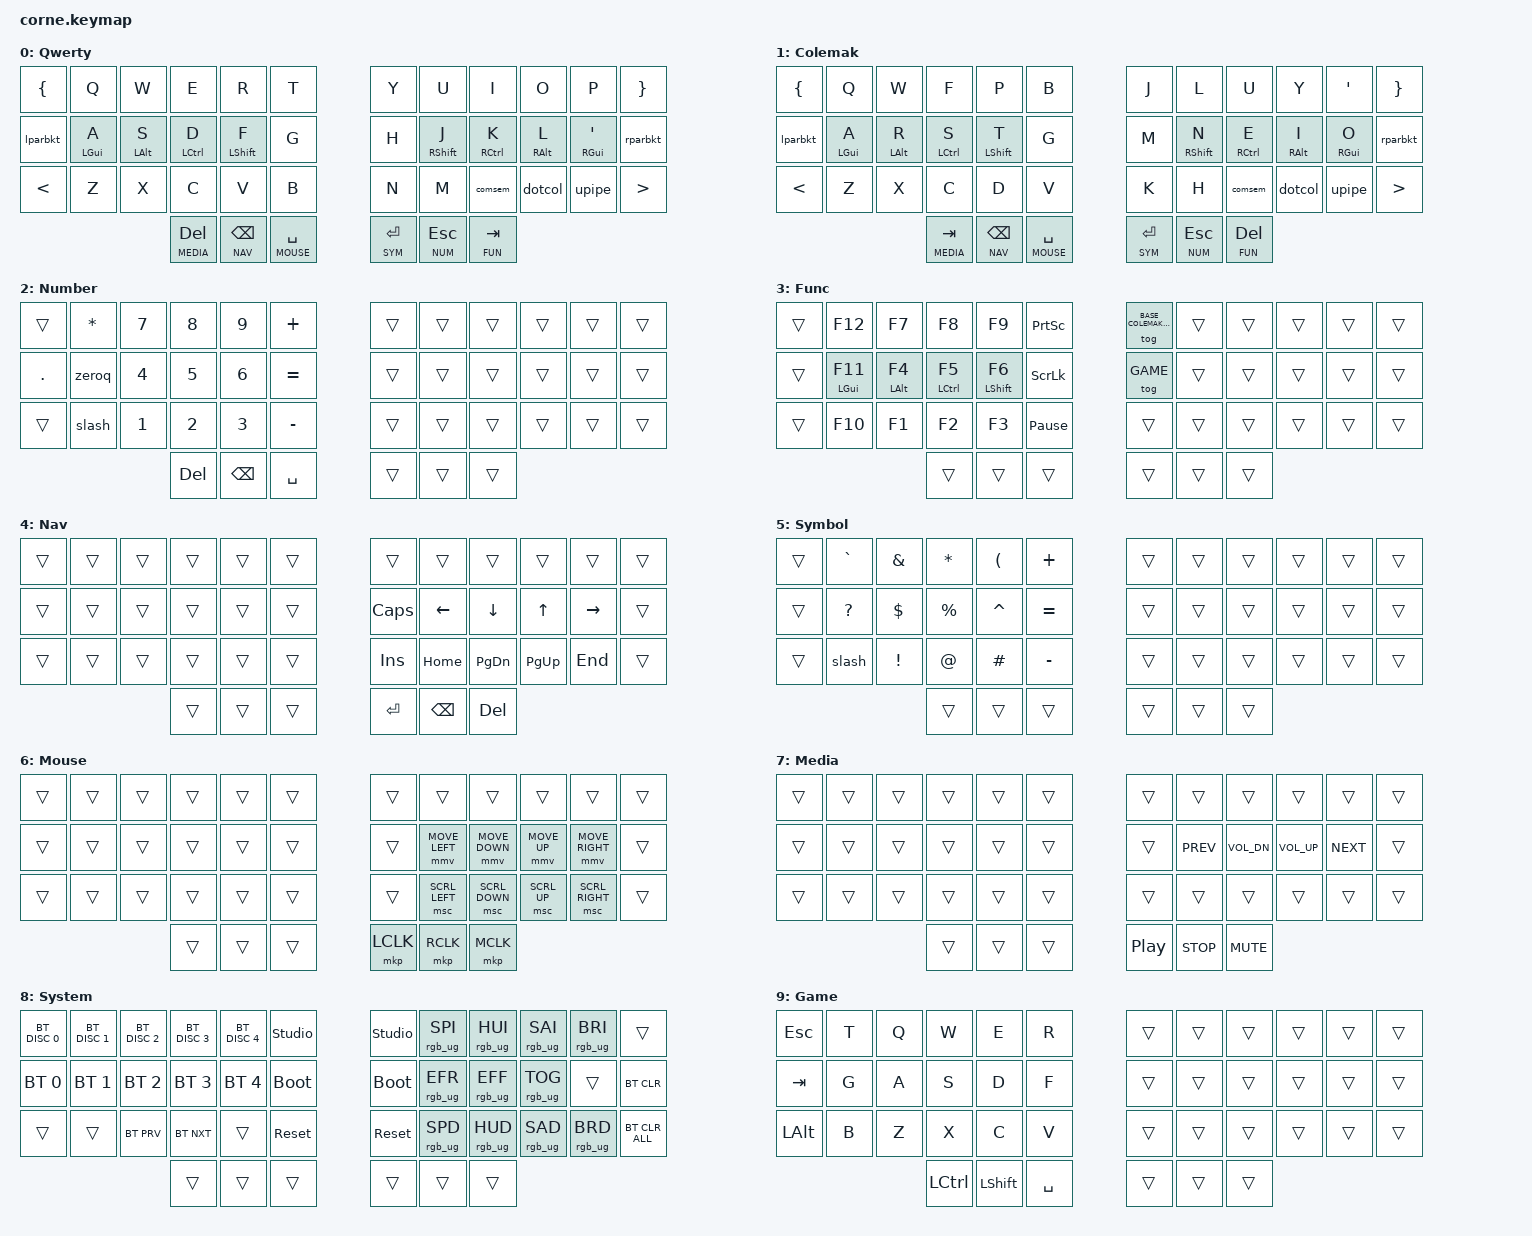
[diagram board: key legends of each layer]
/*
 * Copyright (c) 2020 The ZMK Contributors
 *
 * SPDX-License-Identifier: MIT
 */

#include <behaviors.dtsi>
#include <dt-bindings/zmk/keys.h>
#include <dt-bindings/zmk/bt.h>
#include <dt-bindings/zmk/pointing.h>
#include <dt-bindings/zmk/rgb.h>

#include "zmk-helpers/key-labels/42.h"

#define BASE_QWERTY 0
#define BASE_COLEMAK_DH 1 
#define NUM 2
#define FUN 3
#define NAV 4
#define SYM 5
#define MOUSE 6
#define MEDIA 7
#define SYS 8
#define GAME 9

#define KEYS_L LT5 LT4 LT3 LT2 LT1 LT0 LM5 LM4 LM3 LM2 LM1 LM0 LB5 LB4 LB3 LB2 LB1 LB0
#define KEYS_R RT5 RT4 RT3 RT2 RT1 RT0 RM5 RM4 RM3 RM2 RM1 RM0 RB5 RB4 RB3 RB2 RB1 RB0
#define THUMBS LH2 LH1 LH0 RH0 RH1 RH2

#define PREFERRED_PRIOR_IDLE_TIME 150
#define CUSTOM_TIMEOUT 30

/ {
	// key behaviors
	behaviors {
		// home row mods
		hml: homerow_mods_left { 
			compatible = "zmk,behavior-hold-tap";
			#binding-cells = <2>;
			flavor = "balanced";
			require-prior-idle-ms = <PREFERRED_PRIOR_IDLE_TIME>;
			tapping-term-ms = <250>;
			quick-tap-ms = <175>;
			bindings = <&kp>, <&kp>;
			hold-trigger-key-positions = <KEYS_R THUMBS>;
			hold-trigger-on-release;
		};
		hmr: homerow_mods_right { 
			compatible = "zmk,behavior-hold-tap";
			#binding-cells = <2>;
			flavor = "balanced";
			require-prior-idle-ms = <PREFERRED_PRIOR_IDLE_TIME>;
			tapping-term-ms = <250>;
			quick-tap-ms = <175>;
			bindings = <&kp>, <&kp>;
			hold-trigger-key-positions = <KEYS_L THUMBS>;
			hold-trigger-on-release;
		};
 
		hmsl: homerow_mods_shift_left { 
			compatible = "zmk,behavior-hold-tap";
			#binding-cells = <2>;
			flavor = "balanced";
			require-prior-idle-ms = <100>;
			tapping-term-ms = <150>;
			quick-tap-ms = <150>;
			bindings = <&kp>, <&kp>;
			hold-trigger-key-positions = <KEYS_R THUMBS>;
			hold-trigger-on-release;
		};
		hmsr: homerow_mods_shift_right { 
			compatible = "zmk,behavior-hold-tap";
			#binding-cells = <2>;
			flavor = "balanced";
			require-prior-idle-ms = <100>;
			tapping-term-ms = <150>;
			quick-tap-ms = <150>;
			bindings = <&kp>, <&kp>;
			hold-trigger-key-positions = <KEYS_L THUMBS>;
			hold-trigger-on-release;
		};
		hmtl: homerow_mods_tap_left { 
			compatible = "zmk,behavior-hold-tap";
			#binding-cells = <2>;
			flavor = "tap-preferred";
			require-prior-idle-ms = <150>;
			tapping-term-ms = <250>;
			quick-tap-ms = <250>;
			bindings = <&kp>, <&kp>;
			hold-trigger-key-positions = <KEYS_L KEYS_R THUMBS>;
			hold-trigger-on-release;
		};
		hmtr: homerow_mods_tap_right { 
			compatible = "zmk,behavior-hold-tap";
			#binding-cells = <2>;
			flavor = "tap-preferred";
			require-prior-idle-ms = <150>;
			tapping-term-ms = <250>;
			quick-tap-ms = <250>;
			bindings = <&kp>, <&kp>;
			hold-trigger-key-positions = <KEYS_L KEYS_R THUMBS>;
			hold-trigger-on-release;
		};

		// mod tap & layer tap
	    glt: gael_layer_tap {
            compatible = "zmk,behavior-hold-tap";
            #binding-cells = <2>;
            flavor = "tap-preferred";
            // require-prior-idle-ms = <PREFERRED_PRIOR_IDLE_TIME>;
            tapping-term-ms = <200>;
            quick-tap-ms = <175>;
            bindings = <&mo>, <&kp>;
            display-name = "Layer-Tap";
        };

		// mod morphs
		comsem: comma_semicolon {
			compatible = "zmk,behavior-mod-morph";
			#binding-cells = <0>;
			bindings = <&kp COMMA>, <&kp SEMI>;
			mods = <(MOD_LSFT|MOD_RSFT)>;
		};
		dotcol: dot_colon {
			compatible = "zmk,behavior-mod-morph";
			#binding-cells = <0>;
			bindings = <&kp DOT>, <&kp COLON>;
			mods = <(MOD_LSFT|MOD_RSFT)>;
		};
		slash: forward_backward_slash {
			compatible = "zmk,behavior-mod-morph";
			#binding-cells = <0>;
			bindings = <&kp FSLH>, <&kp BSLH>;
			mods = <(MOD_LSFT|MOD_RSFT)>;
		};
		upipe: underscore_pipe {
			compatible = "zmk,behavior-mod-morph";
			#binding-cells = <0>;
			bindings = <&kp UNDER>, <&kp PIPE>;
			mods = <(MOD_LSFT|MOD_RSFT)>;
		};
		lparbkt: l_parenthesis_bracket {
			compatible = "zmk,behavior-mod-morph";
			#binding-cells = <0>;
			bindings = <&kp LPAR>, <&kp LBKT>;
			mods = <(MOD_LSFT|MOD_RSFT)>;
		};
		rparbkt: r_parenthesis_bracket {
			compatible = "zmk,behavior-mod-morph";
			#binding-cells = <0>;
			bindings = <&kp RPAR>, <&kp RBKT>;
			mods = <(MOD_LSFT|MOD_RSFT)>;
		};
		zeroq: zero_question {
			compatible = "zmk,behavior-mod-morph";
			#binding-cells = <0>;
			bindings = <&kp N0>, <&kp QMARK>;
			mods = <(MOD_LSFT|MOD_RSFT)>;
		};

		// mouse
		
	};

	macros {
		m_cpy: m_copy {
			compatible = "zmk,behavior-macro";
			#binding-cells = <0>;
			bindings = 
				<&macro_tap &kp LCTRL &kp C>;
		};
	};
	
	combos {
		compatible = "zmk,combos";
        combo_capsword {
			timeout-ms = <CUSTOM_TIMEOUT>;
			require-prior-idle-ms = <PREFERRED_PRIOR_IDLE_TIME>;
			key-positions = <16 19>; //<LM1 RM1>;
			bindings = <&caps_word>;
			layers = <BASE_QWERTY BASE_COLEMAK_DH NUM SYM>;
        };
		combo_lpar {
			timeout-ms = <CUSTOM_TIMEOUT>;
			require-prior-idle-ms = <PREFERRED_PRIOR_IDLE_TIME>;
			key-positions = <19 20>; //<RM1 RM2>;
			bindings = <&lparbkt>;
			layers = <BASE_QWERTY BASE_COLEMAK_DH NUM SYM>;
		};
		combo_rpar {
			timeout-ms = <CUSTOM_TIMEOUT>;
			require-prior-idle-ms = <PREFERRED_PRIOR_IDLE_TIME>;
			key-positions = <20 21>; //<RM2 RM3>;
			bindings = <&rparbkt>;
			layers = <BASE_QWERTY BASE_COLEMAK_DH NUM SYM>;
		};
		combo_lbrc {
            timeout-ms = <CUSTOM_TIMEOUT>;
			require-prior-idle-ms = <PREFERRED_PRIOR_IDLE_TIME>;
			key-positions = <7 8>; //<RT1 RT2>;
			bindings = <&kp LBRC>;
			layers = <BASE_QWERTY BASE_COLEMAK_DH NUM SYM>;
		};
		combo_rbrc {
            timeout-ms = <CUSTOM_TIMEOUT>;
			require-prior-idle-ms = <PREFERRED_PRIOR_IDLE_TIME>;
			key-positions = <8 9>; //<RT2 RT3>;
			bindings = <&kp RBRC>;
			layers = <BASE_QWERTY BASE_COLEMAK_DH NUM SYM>;
		};
		combo_lt {
            timeout-ms = <CUSTOM_TIMEOUT>;
			require-prior-idle-ms = <PREFERRED_PRIOR_IDLE_TIME>;
			key-positions = <31 32>; //<RB1 RB2>;
			bindings = <&kp LT>;
			layers = <BASE_QWERTY BASE_COLEMAK_DH NUM SYM>;
		};
		combo_gt {
            timeout-ms = <CUSTOM_TIMEOUT>;
			require-prior-idle-ms = <PREFERRED_PRIOR_IDLE_TIME>;
			key-positions = <32 33>; //<RM2 RM3>;
			bindings = <&kp GT>;
			layers = <BASE_QWERTY BASE_COLEMAK_DH NUM SYM>;
		};
		combo_semicolon {
            timeout-ms = <CUSTOM_TIMEOUT>;
			require-prior-idle-ms = <PREFERRED_PRIOR_IDLE_TIME>;
			key-positions = <21 22>; //<RM3 RM4>;
			bindings = <&kp SEMI>;
			layers = <BASE_QWERTY BASE_COLEMAK_DH NUM SYM>;
		};
		combo_colon {
            timeout-ms = <CUSTOM_TIMEOUT>;
			require-prior-idle-ms = <PREFERRED_PRIOR_IDLE_TIME>;
			key-positions = <33 34>; //<RB3 RB4>;
			bindings = <&kp COLON>;
			layers = <BASE_QWERTY BASE_COLEMAK_DH NUM SYM>;
		};
		combo_tilde {
            timeout-ms = <CUSTOM_TIMEOUT>;
			require-prior-idle-ms = <PREFERRED_PRIOR_IDLE_TIME>;
			key-positions = <1 2>; //<TR4 TR3>;
			bindings = <&kp TILDE>;
			layers = <BASE_QWERTY BASE_COLEMAK_DH NUM SYM>;
		};
		combo_amps {
            timeout-ms = <CUSTOM_TIMEOUT>;
			require-prior-idle-ms = <PREFERRED_PRIOR_IDLE_TIME>;
			key-positions = <2 3>; //<TR3 TR2>;
			bindings = <&kp AMPS>;
			layers = <BASE_QWERTY BASE_COLEMAK_DH NUM SYM>;
		};
		combo_star {
            timeout-ms = <CUSTOM_TIMEOUT>;
			require-prior-idle-ms = <PREFERRED_PRIOR_IDLE_TIME>;
			key-positions = <3 4>; //<TR2 TR1>;
			bindings = <&kp STAR>;
			layers = <BASE_QWERTY BASE_COLEMAK_DH NUM SYM>;
		};
		combo_minus {
            timeout-ms = <CUSTOM_TIMEOUT>;
			require-prior-idle-ms = <PREFERRED_PRIOR_IDLE_TIME>;
			key-positions = <13 14>; //<MR4 MR3>;
			bindings = <&kp MINUS>;
			layers = <BASE_QWERTY BASE_COLEMAK_DH NUM SYM>;
		};
		combo_plus {
            timeout-ms = <CUSTOM_TIMEOUT>;
			require-prior-idle-ms = <PREFERRED_PRIOR_IDLE_TIME>;
			key-positions = <14 15>; //<MR3 MR2>;
			bindings = <&kp PLUS>;
			layers = <BASE_QWERTY BASE_COLEMAK_DH NUM SYM>;
		};
		combo_equal {
            timeout-ms = <CUSTOM_TIMEOUT>;
			require-prior-idle-ms = <PREFERRED_PRIOR_IDLE_TIME>;
			key-positions = <15 16>; //<MR2 MR1>;
			bindings = <&kp EQUAL>;
			layers = <BASE_QWERTY BASE_COLEMAK_DH NUM SYM>;
		};
		combo_bslh {
            timeout-ms = <CUSTOM_TIMEOUT>;
			require-prior-idle-ms = <PREFERRED_PRIOR_IDLE_TIME>;
			key-positions = <25 26>; //<BR4 BR3>;
			bindings = <&kp BSLH>;
			layers = <BASE_QWERTY BASE_COLEMAK_DH NUM SYM>;
		};
		combo_pipe {
            timeout-ms = <CUSTOM_TIMEOUT>;
			require-prior-idle-ms = <PREFERRED_PRIOR_IDLE_TIME>;
			key-positions = <26 27>; //<BR3 BR2>;
			bindings = <&kp PIPE>;
			layers = <BASE_QWERTY BASE_COLEMAK_DH NUM SYM>;
		};
		combo_fslh {
            timeout-ms = <CUSTOM_TIMEOUT>;
			require-prior-idle-ms = <PREFERRED_PRIOR_IDLE_TIME>;
			key-positions = <27 28>; //<BR2 BR1>;
			bindings = <&kp FSLH>;
			layers = <BASE_QWERTY BASE_COLEMAK_DH NUM SYM>;
		};
	};
    
        keymap {
                compatible = "zmk,keymap";

                BASE_QWERTY {
                    display-name = "Qwerty";
                    bindings = <
// |---------------+---------------+---------------+---------------+---------------+---------------|   |---------------+---------------+---------------+---------------+---------------+---------------|
        &kp LBRC         &kp Q		&kp W		&kp E		&kp R		&kp T		     &kp Y	     &kp U          &kp I      	     &kp O           &kp P          &kp RBRC
// |---------------+---------------+---------------+---------------+---------------+---------------|   |---------------+---------------+---------------+---------------+---------------+---------------|
	&lparbkt      &hmtl LGUI A      &hml LALT S     &hml LCTRL D   &hmsl LSHFT F	&kp G		     &kp H	  &hmsr RSHFT J	  &hmr RCTRL K	  &hmr RALT L	  &hmtr RGUI SQT     &rparbkt
// |---------------+---------------+---------------+---------------+---------------+---------------|   |---------------+---------------+---------------+---------------+---------------+---------------|
	&kp LT		&kp Z		&kp X		&kp C		&kp V		&kp B		     &kp N	     &kp M          &comsem         &dotcol          &upipe          &kp GT
// |---------------+---------------+---------------+---------------+---------------+---------------|   |---------------+---------------+---------------+---------------+---------------+---------------|
						     &glt MEDIA DEL  &glt NAV BSPC  &glt MOUSE SPACE	  &glt SYM RET	 &glt NUM ESC	 &glt FUN TAB	 
// 						   |---------------+---------------+---------------|   |---------------+---------------+---------------|
			>;
                };

                BASE_COLEMAK_DH {
                    display-name = "Colemak";
                    bindings = <
// |---------------+---------------+---------------+---------------+---------------+---------------|   |---------------+---------------+---------------+---------------+---------------+---------------|
        &kp LBRC         &kp Q		&kp W		&kp F		&kp P		&kp B		     &kp J	     &kp L          &kp U      	     &kp Y           &kp SQT          &kp RBRC
// |---------------+---------------+---------------+---------------+---------------+---------------|   |---------------+---------------+---------------+---------------+---------------+---------------|
	&lparbkt      &hmtl LGUI A      &hml LALT R     &hml LCTRL S   &hmsl LSHFT T	&kp G		     &kp M	  &hmsr RSHFT N	  &hmr RCTRL E	  &hmr RALT I	  &hmr RGUI O     &rparbkt
// |---------------+---------------+---------------+---------------+---------------+---------------|   |---------------+---------------+---------------+---------------+---------------+---------------|
	&kp LT		&kp Z		&kp X		&kp C		&kp D		&kp V		     &kp K	     &kp H          &comsem         &dotcol          &upipe          &kp GT
// |---------------+---------------+---------------+---------------+---------------+---------------|   |---------------+---------------+---------------+---------------+---------------+---------------|
						     &glt MEDIA TAB   &glt NAV BSPC  &glt MOUSE SPACE	  &glt SYM RET	 &glt NUM ESC	 &glt FUN DEL	 
// 						   |---------------+---------------+---------------|   |---------------+---------------+---------------|
			>;
                };

                NUM {
        		display-name = "Number";
                        bindings = <
// |---------------+---------------+---------------+---------------+---------------+---------------|   |---------------+---------------+---------------+---------------+---------------+---------------|
        &trans		 &kp STAR	&kp N7		&kp N8		&kp N9		&kp PLUS	     &trans	     &trans          &trans          &trans          &trans          &trans
// |---------------+---------------+---------------+---------------+---------------+---------------|   |---------------+---------------+---------------+---------------+---------------+---------------|
        &kp DOT	       &zeroq   	&kp N4    	&kp N5   	&kp N6		&kp EQUAL	     &trans	     &trans	     &trans	     &trans	     &trans          &trans
// |---------------+---------------+---------------+---------------+---------------+---------------|   |---------------+---------------+---------------+---------------+---------------+---------------|
        &trans		&slash		 &kp N1		&kp N2		&kp N3		&kp MINUS	     &trans	     &trans          &trans          &trans          &trans          &trans
// |---------------+---------------+---------------+---------------+---------------+---------------|   |---------------+---------------+---------------+---------------+---------------+---------------|
        						&kp DEL   	&kp BSPC		&kp SPACE	     &trans	    &trans 	    &trans
// 						   |---------------+---------------+---------------|   |---------------+---------------+---------------|
        		>;
                };

                FUN {
        		display-name = "Func";
                        bindings = <
// |---------------+---------------+---------------+---------------+---------------+---------------|   |---------------+---------------+---------------+---------------+---------------+---------------|
        &trans		 &kp F12	&kp F7		&kp F8		&kp F9		&kp PSCRN	     &tog BASE_COLEMAK_DH	     &trans          &trans          &trans          &trans          &trans
// |---------------+---------------+---------------+---------------+---------------+---------------|   |---------------+---------------+---------------+---------------+---------------+---------------|
        &trans	    &hml LGUI F11   &hml LALT F4    &hml LCTL F5   &hml LSHFT F6     &kp SCROLLLOCK	   &tog GAME	     &trans	     &trans	     &trans	     &trans          &trans
// |---------------+---------------+---------------+---------------+---------------+---------------|   |---------------+---------------+---------------+---------------+---------------+---------------|
        &trans		&kp F10		 &kp F1		&kp F2		&kp F3	    &kp PAUSE_BREAK	     &trans	     &trans          &trans          &trans          &trans          &trans
// |---------------+---------------+---------------+---------------+---------------+---------------|   |---------------+---------------+---------------+---------------+---------------+---------------|
        						&trans  	&trans	       &trans		     &trans	     &trans 	     &trans
// 						   |---------------+---------------+---------------|   |---------------+---------------+---------------|
        		>;
                };

                NAV {
        		display-name = "Nav";
                        bindings = <
// |---------------+---------------+---------------+---------------+---------------+---------------|   |---------------+---------------+---------------+---------------+---------------+---------------|
        &trans		&trans		&trans		&trans		&trans		&trans	     	     &trans	     &trans          &trans          &trans          &trans         &trans
// |---------------+---------------+---------------+---------------+---------------+---------------|   |---------------+---------------+---------------+---------------+---------------+---------------|
        &trans	    	&trans   	&trans    	&trans   	&trans		&trans	     	     &kp CAPS &kp LEFT	     &kp DOWN	     &kp UP	    &kp RIGHT	     &trans
// |---------------+---------------+---------------+---------------+---------------+---------------|   |---------------+---------------+---------------+---------------+---------------+---------------|
        &trans		&trans		&trans		&trans		&trans		&trans	     	     &kp INS         &kp HOME	     &kp PG_DN      &kp PG_UP       &kp END         &trans
// |---------------+---------------+---------------+---------------+---------------+---------------|   |---------------+---------------+---------------+---------------+---------------+---------------|
        						&trans   	&trans 		&trans		     &kp RET	    &kp BSPC 	    &kp DEL
// 						   |---------------+---------------+---------------|   |---------------+---------------+---------------|
        		>;
                };

                SYM {
        		display-name = "Symbol";
                        bindings = <
// |---------------+---------------+---------------+---------------+---------------+---------------|   |---------------+---------------+---------------+---------------+---------------+---------------|
        &trans		&kp GRAVE	&kp AMPS	&kp STAR	&kp LPAR	&kp PLUS	     &trans	     &trans          &trans          &trans          &trans          &trans
// |---------------+---------------+---------------+---------------+---------------+---------------|   |---------------+---------------+---------------+---------------+---------------+---------------|
        &trans	    	&kp QMARK   	&kp DLLR    	&kp PRCNT   	&kp CARET	&kp EQUAL	     &trans	     &trans	     &trans	     &trans	     &trans          &trans
// |---------------+---------------+---------------+---------------+---------------+---------------|   |---------------+---------------+---------------+---------------+---------------+---------------|
        &trans		&slash		&kp EXCL	&kp AT		&kp HASH	&kp MINUS	     &trans	     &trans          &trans          &trans          &trans          &trans
// |---------------+---------------+---------------+---------------+---------------+---------------|   |---------------+---------------+---------------+---------------+---------------+---------------|
        						&trans   	&trans 		&trans		     &trans	    &trans 	    &trans
// 						   |---------------+---------------+---------------|   |---------------+---------------+---------------|
        		>;
                };

                MOUSE {
        		display-name = "Mouse";
                        bindings = <
// |---------------+---------------+---------------+---------------+---------------+---------------|   |---------------+---------------+---------------+---------------+---------------+---------------|
    &trans		    &trans		    &trans		    &trans		    &trans		    &trans	     	    &trans	        &trans          &trans          &trans          &trans          &trans
// |---------------+---------------+---------------+---------------+---------------+---------------|   |---------------+---------------+---------------+---------------+---------------+---------------|
    &trans	    	&trans   	    &trans    	    &trans   	    &trans		    &trans	     	    &trans          &mmv MOVE_LEFT	&mmv MOVE_DOWN	&mmv MOVE_UP    &mmv MOVE_RIGHT &trans
// |---------------+---------------+---------------+---------------+---------------+---------------|   |---------------+---------------+---------------+---------------+---------------+---------------|
    &trans          &trans          &trans	        &trans		    &trans		    &trans	     	    &trans          &msc SCRL_LEFT  &msc SCRL_DOWN  &msc SCRL_UP    &msc SCRL_RIGHT &trans
// |---------------+---------------+---------------+---------------+---------------+---------------|   |---------------+---------------+---------------+---------------+---------------+---------------|
        						&trans   	&trans 		&trans		     &mkp LCLK	    &mkp RCLK 	    &mkp MCLK
// 						   |---------------+---------------+---------------|   |---------------+---------------+---------------|
        		>;
                };

                MEDIA {
        		display-name = "Media";
                        bindings = <
// |---------------+---------------+---------------+---------------+---------------+---------------|   |---------------+---------------+---------------+---------------+---------------+---------------|
        &trans		&trans		&trans		&trans		&trans		&trans	     	     &trans	     &trans          &trans          &trans          &trans          &trans
// |---------------+---------------+---------------+---------------+---------------+---------------|   |---------------+---------------+---------------+---------------+---------------+---------------|
        &trans	    	&trans   	&trans    	&trans   	&trans		&trans	     	   &trans &kp C_PREV	  &kp C_VOL_DN	  &kp C_VOL_UP	   &kp C_NEXT	     &trans
// |---------------+---------------+---------------+---------------+---------------+---------------|   |---------------+---------------+---------------+---------------+---------------+---------------|
        &trans		&trans		&trans		&trans		&trans		&trans	     	     &trans	     &trans          &trans          &trans          &trans          &trans
// |---------------+---------------+---------------+---------------+---------------+---------------|   |---------------+---------------+---------------+---------------+---------------+---------------|
        						&trans   	&trans 		&trans		     &kp C_PP	    &kp C_STOP 	   &kp C_MUTE
// 						   |---------------+---------------+---------------|   |---------------+---------------+---------------|
        		>;
                };

                SYS {
        		display-name = "System";
                        bindings = <
// |---------------+---------------+---------------+---------------+---------------+---------------|   |---------------+---------------+---------------+---------------+---------------+---------------|
     &bt BT_DISC 0   &bt BT_DISC 1   &bt BT_DISC 2   &bt BT_DISC 3   &bt BT_DISC 4   &studio_unlock	 &studio_unlock	&rgb_ug RGB_SPI &rgb_ug RGB_HUI &rgb_ug RGB_SAI &rgb_ug RGB_BRI	    &trans
// |---------------+---------------+---------------+---------------+---------------+---------------|   |---------------+---------------+---------------+---------------+---------------+---------------|
      &bt BT_SEL 0    &bt BT_SEL 1    &bt BT_SEL 2    &bt BT_SEL 3    &bt BT_SEL 4    &bootloader	  &bootloader	&rgb_ug RGB_EFR	&rgb_ug RGB_EFF	&rgb_ug RGB_TOG	    &trans   	  &bt BT_CLR
// |---------------+---------------+---------------+---------------+---------------+---------------|   |---------------+---------------+---------------+---------------+---------------+---------------|
        &trans		&trans	      &bt BT_PRV      &bt BT_NXT	&trans	      &sys_reset	   &sys_reset	&rgb_ug RGB_SPD &rgb_ug RGB_HUD &rgb_ug RGB_SAD &rgb_ug RGB_BRD  &bt BT_CLR_ALL
// |---------------+---------------+---------------+---------------+---------------+---------------|   |---------------+---------------+---------------+---------------+---------------+---------------|
        						&trans   	&trans 		&trans		     &trans	    &trans 	    &trans
// 						   |---------------+---------------+---------------|   |---------------+---------------+---------------|
        		>;
                };

                GAME {
        		display-name = "Game";
                        bindings = <
// |---------------+---------------+---------------+---------------+---------------+---------------|   |---------------+---------------+---------------+---------------+---------------+---------------|
        &kp ESC         &kp T	        &kp Q		    &kp W		    &kp E		    &kp R	     	     &trans	     &trans          &trans          &trans          &trans          &trans
// |---------------+---------------+---------------+---------------+---------------+---------------|   |---------------+---------------+---------------+---------------+---------------+---------------|
        &kp TAB         &kp G   	    &kp A    	    &kp S   	    &kp D		    &kp F	     	     &trans	     &trans	            &trans	        &trans	     &trans          &trans
// |---------------+---------------+---------------+---------------+---------------+---------------|   |---------------+---------------+---------------+---------------+---------------+---------------|
        &kp LALT	    &kp B           &kp Z		    &kp X		    &kp C		    &kp V	     	     &trans	     &trans          &trans          &trans          &trans          &trans
// |---------------+---------------+---------------+---------------+---------------+---------------|   |---------------+---------------+---------------+---------------+---------------+---------------|
        						&kp LCTRL   	&kp LSHFT       &kp SPACE		     &trans	    &trans 	    &trans
// 						   |---------------+---------------+---------------|   |---------------+---------------+---------------|
        		>;
                };
	};

	conditional_layers {
		compatible = "zmk,conditional-layers";
		sys_layer {
			if-layers = <FUN MEDIA>;
			then-layer = <SYS>;
		};
	};
};
